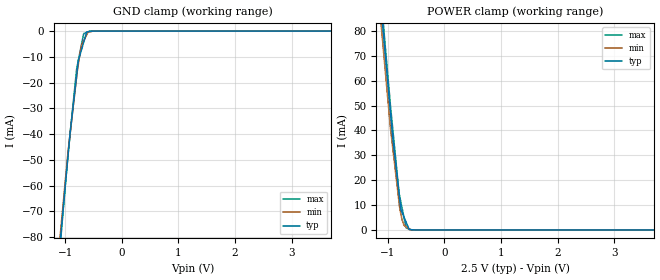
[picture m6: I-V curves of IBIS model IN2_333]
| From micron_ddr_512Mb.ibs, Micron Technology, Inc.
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|   MODEL IN2_333
[Model]   IN2_333
Model_type   Input
Vinl = 0.940V
Vinh = 1.560V
|   typ   min   max
C_comp   1.40pF   1.25pF   1.55pF
[Model Spec]
| Input threshold voltage corners
Vinh   1.560V   1.460V   1.660V
Vinl   0.940V   0.840V   1.040V
| Overshoot/Undershoot
S_overshoot_high   2.800V   2.600V   3.000V
S_overshoot_low   -0.300V   -0.300V   -0.300V
D_overshoot_high   4.000V   3.800V   4.200V
D_overshoot_low   -1.500V   -1.500V   -1.500V
D_overshoot_time   2.000n   2.000n   2.000n
[Receiver Thresholds]
Vth   =  1.250V
Vth_min  =  1.225V
Vth_max  =  1.275V
Vinh_ac  =  0.310V
Vinh_dc  =  0.150V
Vinl_ac  = -0.310V
Vinl_dc  = -0.150V
Tslew_ac =  20.000ns |Not specified, so set to high value
Threshold_sensitivity = 0.50
Reference_supply Power_clamp_ref
[Voltage Range]   2.500V   2.300V   2.700V
[POWER Clamp Reference]   2.500V   2.300V   2.700V
| Junction Temperature (Ambient temp is 25C typ, 70C min, 0C max)
[Temperature Range]   40.0   85.0   0.0
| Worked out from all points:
|   GND clamp passes 1 mA (typ) near -0.63 V on its own axis
|   POWER clamp passes 1 mA (typ) near -0.63 V on its own axis
[GND Clamp]
|   Voltage   I(typ)   I(min)   I(max)
-2.5V     -472.3mA   -460.1mA   -486.5mA
-1.105V   -85.78mA   -83.5mA    -88.5mA
-1.055V   -73.77mA   -71.77mA   -74.89mA
-950mV    -48.55mA   -47.13mA   -48.22mA
-915mV    -40.14mA   -40.41mA   -40.5mA
-795mV    -16.95mA   -17.37mA   -14.5mA
-765mV    -11.31mA   -12.57mA   -11.18mA
-710mV    -7.196mA   -5.624mA   -5.09mA
-670mV    -4.203mA   -3.741mA   -945.1uA
-615mV    -355.9uA   -1.208mA   -435.4uA
-415mV    0A         -3.704uA   0A
5V        0A         0A         0A
[POWER Clamp]
|   Voltage   I(typ)   I(min)   I(max)
-2.5V     479.2mA    468.5mA    486.6mA
-1.105V   86.48mA    79.95mA    91.07mA
-1.055V   73.76mA    67.34mA    77.35mA
-950mV    47.05mA    40.86mA    49.94mA
-910mV    37.02mA    33mA       40.64mA
-800mV    14.94mA    11.37mA    15.26mA
-785mV    11.93mA    8.493mA    13.26mA
-765mV    8.073mA    6.3mA      11.03mA
-710mV    5.094mA    1.86mA     4.922mA
-675mV    3.197mA    1.289mA    1.033mA
-615mV    145.8uA    357.8uA    350.9uA
5V        0A         0A         0A
